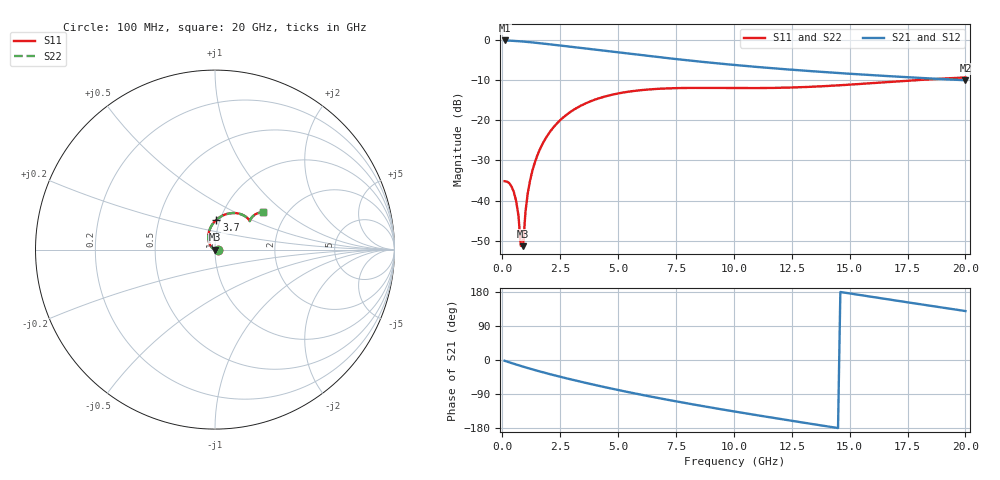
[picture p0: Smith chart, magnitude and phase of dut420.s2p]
! Touchstone file exported from HFSS 2024.1.0
!  File:  C:/UserFiles/LocalFiles/RDL_TSV_Batchsim/temp_RDL_TSV_420_1779717585.aedt
!  Generated:  10:15:51 PM May 25, 2026
!  Design:  RDL_TSV
!  Project:  temp_RDL_TSV_420_1779717585
!  Setup:  Setup1
!  Solution:  Sweep
! Variables:
!  dtsv = 14.47um
!  hbump = 3um
!  htsv = 60.57um
!  ldown = 316.65um
!  lrdl = 625.92um
!  p = 40
!  p1 = 48.12um
!  rhole = 10um
!  subl = 3453.63um
!  t = 450um
!  tdown = 2.24um
!  trdl = 3.39um
!  viad = 10um
!  wdown = 29.27um
!  wrdl = 21.78um
!  xbump = 18um
# GHz S MA R 50.000000
! Terminal data exported
! Port[1] = TM1_1_T1
! Port[2] = TM1_4_T1
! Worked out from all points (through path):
!   200 points, 100 MHz to 20 GHz, reference 50 ohm
!   highest |S21| = -0.16 dB at 100 MHz (marker M1); lowest = -10.1 dB at 20 GHz (marker M2)
!   group delay of S21, straight-line fit = 30.4 ps
!   lowest |S11| = -51.4 dB at 900 MHz (marker M3), VSWR 1.01, Z = 49.7 - j0.0496 ohm
!   |S11| at or under -10 dB: start of sweep to 18.01 GHz
!   |S22| runs from -51.4 to -9.4 dB; largest |S21 - S12| = 9.7e-15
!   S11 on the Smith chart (normalised r, x): 100 MHz: 1.04, -0.00; 3.7 GHz: 0.96, +0.33; 20 GHz: 1.53, +0.72
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0.1  0.01737 -1.0  0.9819 -2.1  0.9819 -2.1  0.01737 -1.0
! Gamma 0 0 0 0
! Port Impedance 50 0 50 0
0.3  0.01645 -7.1  0.9773 -6.1  0.9773 -6.1  0.01646 -7.1
0.5  0.0127 -16.8  0.9704 -10.0  0.9704 -10.0  0.0127 -16.8
0.6  0.009824 -22.9  0.9663 -11.9  0.9663 -11.9  0.009831 -22.9
0.7  0.006419 -31.8  0.9618 -13.8  0.9618 -13.8  0.006428 -31.7
0.8  0.002738 -56.5  0.957 -15.7  0.957 -15.7  0.002747 -56.3
0.9  0.002702 -169.4  0.9518 -17.6  0.9518 -17.6  0.002686 -169.2
1  0.007204 164.1  0.9463 -19.4  0.9463 -19.4  0.007182 164.1
1.1  0.01231 155.4  0.9405 -21.2  0.9405 -21.2  0.01229 155.4
1.3  0.0235 145.3  0.9283 -24.8  0.9283 -24.8  0.02346 145.3
1.6  0.04185 134.6  0.9091 -29.9  0.9091 -29.9  0.0418 134.6
2  0.06772 122.9  0.8826 -36.4  0.8826 -36.4  0.06764 122.8
2.4  0.0936 112.8  0.8561 -42.7  0.8561 -42.7  0.0935 112.8
3.5  0.1569 90.6  0.7862 -58.9  0.7862 -58.9  0.1567 90.6
3.7  0.1666 87.3  0.774 -61.7  0.774 -61.7  0.1664 87.3
5.1  0.2177 68.1  0.6929 -80.4  0.6929 -80.4  0.2175 68.1
6.8  0.2461 52.6  0.607 -101.1  0.607 -101.1  0.2458 52.6
8.4  0.2522 44.1  0.5406 -118.9  0.5406 -118.9  0.2518 44.0
10.1  0.251 40.0  0.4843 -136.6  0.4843 -136.6  0.2505 39.9
13.4  0.2608 40.4  0.4062 -169.1  0.4062 -169.1  0.2602 40.4
16.7  0.2986 41.1  0.353 159.7  0.353 159.7  0.298 41.1
20  0.3401 37.6  0.3138 129.2  0.3138 129.2  0.3395 37.6
